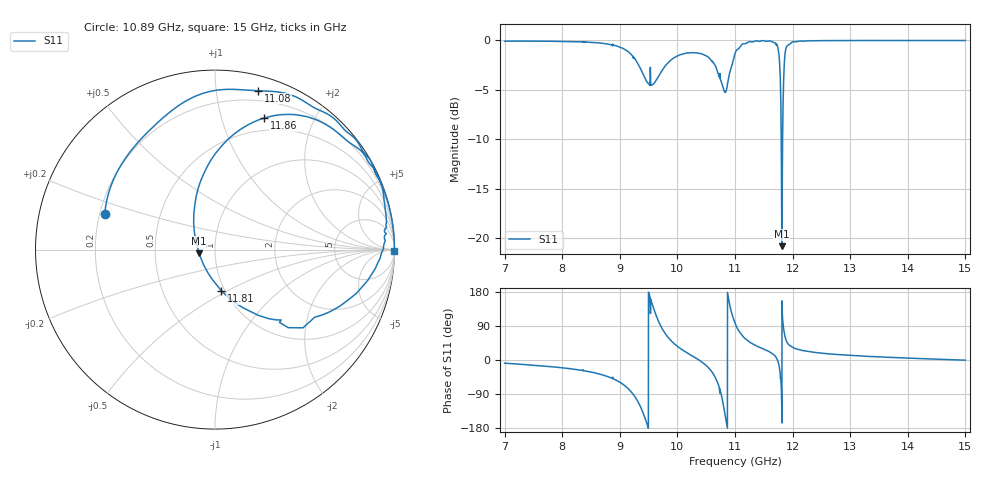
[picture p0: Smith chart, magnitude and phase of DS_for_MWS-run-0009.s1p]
! TOUCHSTONE file generated by CST DESIGN STUDIO
! Date and time: Mon Feb 10 16:55:58 2025
! Project name: C:\Work\MatlabApps\UnitCellType2OptimizationMatlab\CST\unitcell.cst
! Tree item: Tasks\Sweep1\SPara1\S-Parameters
! Header version: 2024
! Port assignment regex: !\s*Touchstone port\s*([0-9]+)\s*=\s*(CST MWS port|CST DES external port|CST DES block port)\s*(.+)\s* \(\"(.*)\"\)(\s*mode\s*([0-9]+))?.*
! Touchstone port assignment:
! Touchstone port 1 = CST DES external port 1 ("")
# GHz S MA R 50
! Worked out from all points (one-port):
!   4001 points, 7 GHz to 15 GHz, reference 50 ohm
!   lowest |S11| = -20.8 dB at 11.81 GHz (marker M1), VSWR 1.20, Z = 41.8 - j1.82 ohm
!   |S11| at or under -10 dB: 11.80254 GHz to 11.82599 GHz (23.45 MHz wide, 0.199 % of centre)
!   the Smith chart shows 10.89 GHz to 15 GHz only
!   S11 on the Smith chart (normalised r, x): 10.89 GHz: 0.22, +0.15; 11.08 GHz: 0.12, +1.30; 11.81 GHz: 0.96, -0.47; 11.86 GHz: 0.37, +1.37; 15 GHz: open
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7  0.9911 -8.5
8  0.9889 -20.5
8.64  0.9712 -36.7
9  0.9265 -58.6
9.286  0.7881 -102.5
9.482  0.612 -173.1
9.562  0.5969 148.0
9.696  0.676 94.3
10  0.8351 36.1
10.484  0.8402 -12.4
10.624  0.7726 -36.7
10.726  0.655 -72.0
10.802  0.5674 -122.4
10.888  0.6456 162.2
11  0.8588 97.9
11.076  0.9173 74.8
11.28  0.9845 44.7
11.692  0.9716 11.3
11.746  0.9148 -3.9
11.776  0.7631 -24.5
11.806  0.2325 -81.2
11.814  0.09123 -166.3
11.858  0.7816 69.6
11.912  0.9427 44.2
12  0.9841 33.5
13  0.9987 12.2
14  0.9998 5.0
15  0.9992 -0.5
